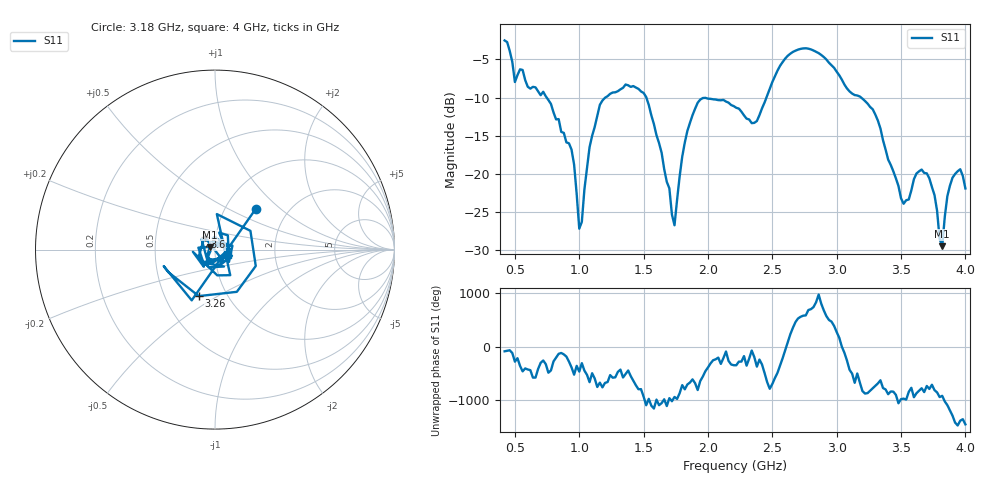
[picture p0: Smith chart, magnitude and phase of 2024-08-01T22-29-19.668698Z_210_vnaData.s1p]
!Created with skrf (http://scikit-rf.org).
# Hz S RI R 50.0
!freq ReS11 ImS11
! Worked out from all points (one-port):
!   180 points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, 420 MHz to 4 GHz, reference 50 ohm
!   lowest |S11| = -29.5 dB at 3.82 GHz (marker M1), VSWR 1.07, Z = 47 + j1.34 ohm
!   |S11| at or under -10 dB: 746.8 MHz to 1.203 GHz (456 MHz wide, 46.8 % of centre); 1.521 GHz to 2.454 GHz (932.9 MHz wide, 46.9 % of centre); 3.19 GHz to end of sweep
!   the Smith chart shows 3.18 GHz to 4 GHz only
!   S11 on the Smith chart (normalised r, x): 3.18 GHz: 1.38, +0.70; 3.26 GHz: 0.74, -0.41; 3.6 GHz: 0.88, +0.13; 4 GHz: 1.16, -0.07
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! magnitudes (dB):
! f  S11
! 420 MHz  -2.5
! 500 MHz  -8.0
! 560 MHz  -6.4
! 880 MHz  -14.6
! 960 MHz  -18.8
! 1 GHz  -27.2
! 1.08 GHz  -16.5
! 1.16 GHz  -11.0
! 1.32 GHz  -8.9
! 1.52 GHz  -9.9
! 1.74 GHz  -26.8
! 1.78 GHz  -20.3
! 1.84 GHz  -14.4
! 1.94 GHz  -10.3
! 2.22 GHz  -11.3
! 2.38 GHz  -13.1
! 2.66 GHz  -4.0
! 2.86 GHz  -4.2
! 3.12 GHz  -9.5
! 3.18 GHz  -9.9
! 3.26 GHz  -11.2
! 3.5 GHz  -23.2
! 3.56 GHz  -23.4
! 3.6 GHz  -20.7
! 3.72 GHz  -20.6
! 3.82 GHz  -29.5
! 3.9 GHz  -20.5
! 4 GHz  -21.9
